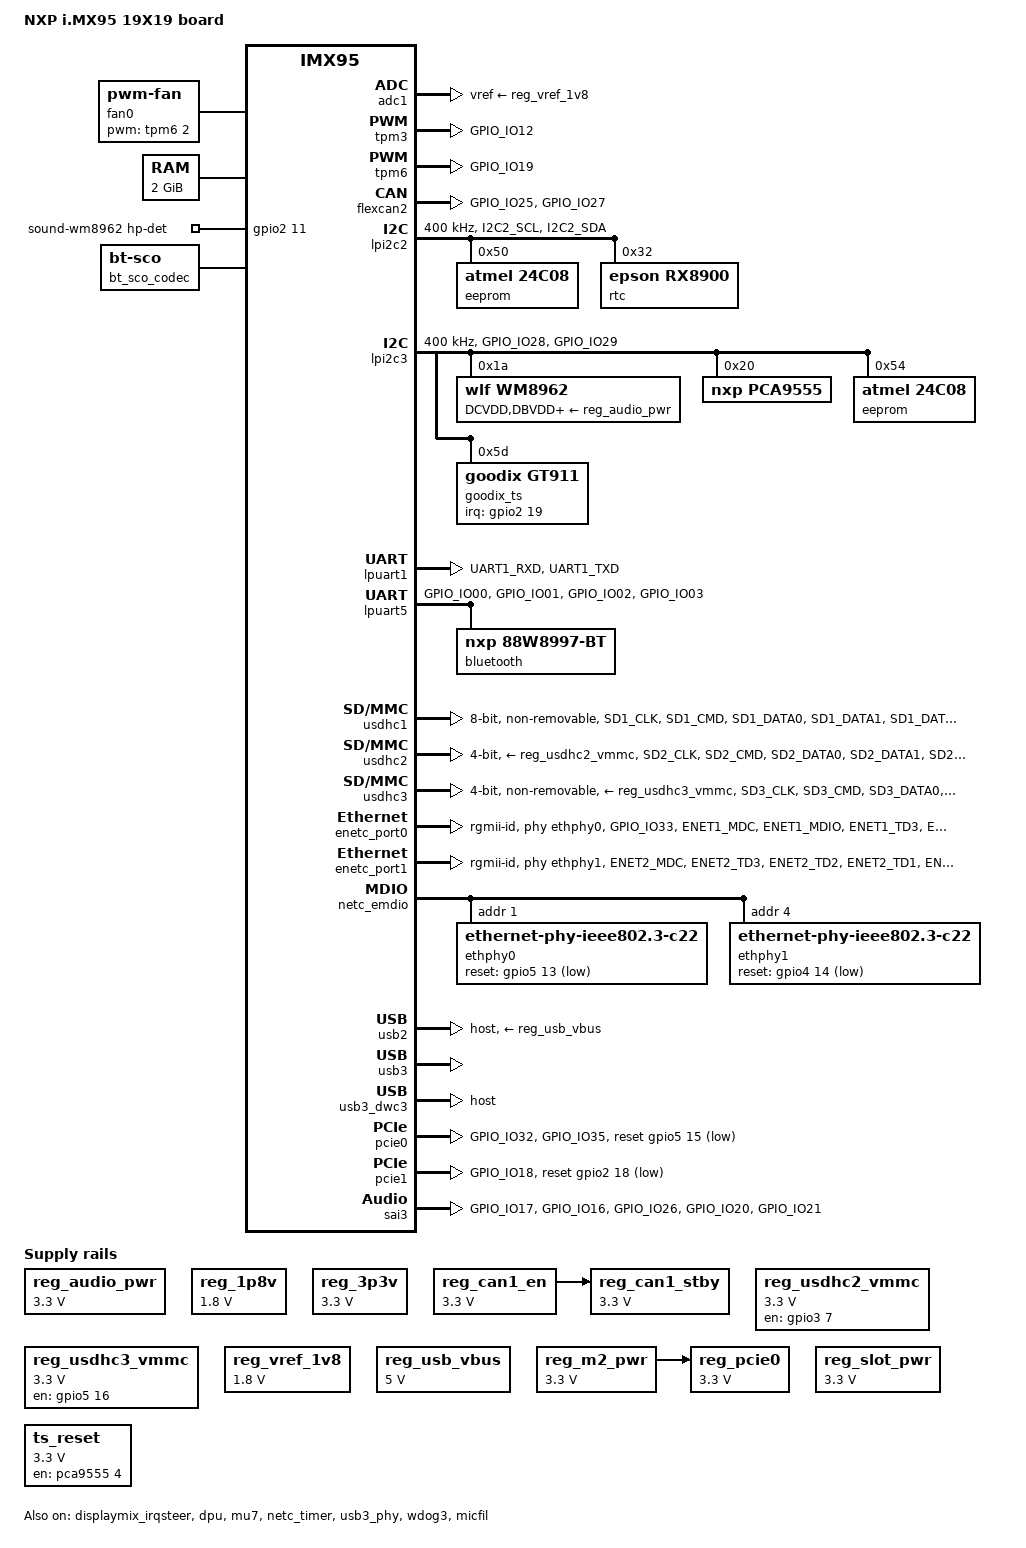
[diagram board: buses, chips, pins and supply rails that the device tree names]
// SPDX-License-Identifier: (GPL-2.0+ OR MIT)
/*
 * Copyright 2023 NXP
 */

/dts-v1/;

#include <dt-bindings/phy/phy-imx8-pcie.h>
#include <dt-bindings/gpio/gpio.h>
#include <dt-bindings/pwm/pwm.h>
#include <dt-bindings/usb/pd.h>
#include "../freescale/imx95.dtsi"

#define FALLING_EDGE		BIT(0)
#define RISING_EDGE		BIT(1)

#define BRD_SM_CTRL_SD3_WAKE		0x8000	/*!< PCAL6408A-0 */
#define BRD_SM_CTRL_PCIE1_WAKE		0x8001	/*!< PCAL6408A-4 */
#define BRD_SM_CTRL_BT_WAKE		0x8002	/*!< PCAL6408A-5 */
#define BRD_SM_CTRL_PCIE2_WAKE		0x8003	/*!< PCAL6408A-6 */
#define BRD_SM_CTRL_BUTTON		0x8004	/*!< PCAL6408A-7 */

/ {
	model = "NXP i.MX95 19X19 board";
	compatible = "compulab,ucm-imx95", "fsl,imx95";

	aliases {
		ethernet0 = &enetc_port0;
		ethernet1 = &enetc_port1;
	};

	chosen {
		stdout-path = &lpuart1;
		#address-cells = <2>;
		#size-cells = <2>;
		/* will be updated by U-boot when booting Xen */
		module@0 {
			bootargs = "earlycon=xen console=hvc0 loglevel=8 root=/dev/mmcblk0p2 rw rootwait";
			compatible = "xen,linux-zimage", "xen,multiboot-module";
			reg = <0x00000000 0x9e000000 0x00000000 0x2000000>;
		};
	};

	fan0: pwm-fan {
		compatible = "pwm-fan";
		cooling-min-state = <0>;
		cooling-max-state = <3>;
		#cooling-cells = <2>;
		pwms = <&tpm6 2 4000000 PWM_POLARITY_INVERTED>;
		cooling-levels = <64 128 192 255>;
	};

	memory@80000000 {
		device_type = "memory";
		reg = <0x0 0x80000000 0 0x80000000>;
	};

	reserved-memory {
		#address-cells = <2>;
		#size-cells = <2>;
		ranges;

		linux_cma: linux,cma {
			compatible = "shared-dma-pool";
			reusable;
			size = <0 0x3c000000>;
			alloc-ranges = <0 0x80000000 0 0x7F000000>;
			linux,cma-default;
		};

		vpu_boot: vpu_boot@a0000000 {
			reg = <0 0xa0000000 0 0x100000>;
			no-map;
		};

		vdev0vring0: vdev0vring0@88000000 {
			reg = <0 0x88000000 0 0x8000>;
			no-map;
		};

		vdev0vring1: vdev0vring1@88008000 {
			reg = <0 0x88008000 0 0x8000>;
			no-map;
		};

		vdev1vring0: vdev1vring0@88010000 {
			reg = <0 0x88010000 0 0x8000>;
			no-map;
		};

		vdev1vring1: vdev1vring1@88018000 {
			reg = <0 0x88018000 0 0x8000>;
			no-map;
		};

		rsc_table: rsc-table@88220000 {
			reg = <0 0x88220000 0 0x1000>;
			no-map;
		};

		vdevbuffer: vdevbuffer@88020000 {
			compatible = "shared-dma-pool";
			reg = <0 0x88020000 0 0x100000>;
			no-map;
		};
	};

	reg_audio_pwr: regulator-audio-pwr {
		compatible = "regulator-fixed";
		regulator-name = "audio-pwr";
		regulator-min-microvolt = <3300000>;
		regulator-max-microvolt = <3300000>;
	};

	reg_1p8v: regulator-1p8v {
		compatible = "regulator-fixed";
		regulator-max-microvolt = <1800000>;
		regulator-min-microvolt = <1800000>;
		regulator-name = "+V1.8_SW";
	};

	reg_3p3v: regulator-3p3v {
		compatible = "regulator-fixed";
		regulator-max-microvolt = <3300000>;
		regulator-min-microvolt = <3300000>;
		regulator-name = "+V3.3_SW";
	};

	reg_can1_stby: regulator-can1-stby {
		compatible = "regulator-fixed";
		regulator-name = "can1-stby";
		regulator-min-microvolt = <3300000>;
		regulator-max-microvolt = <3300000>;
		enable-active-high;
		vin-supply = <&reg_can1_en>;
	};

	reg_can1_en: regulator-can1-en {
		compatible = "regulator-fixed";
		regulator-name = "can1-en";
		regulator-min-microvolt = <3300000>;
		regulator-max-microvolt = <3300000>;
		enable-active-high;
	};

	reg_usdhc2_vmmc: regulator-usdhc2 {
		compatible = "regulator-fixed";
		pinctrl-names = "default";
		pinctrl-0 = <&pinctrl_reg_usdhc2_vmmc>;
		regulator-name = "VDD_SD2_3V3";
		regulator-min-microvolt = <3300000>;
		regulator-max-microvolt = <3300000>;
		gpio = <&gpio3 7 GPIO_ACTIVE_HIGH>;
		off-on-delay-us = <12000>;
		enable-active-high;
	};

	reg_usdhc3_vmmc: regulator-usdhc3 {
		compatible = "regulator-fixed";
		pinctrl-names = "default";
		pinctrl-0 = <&pinctrl_reg_usdhc3_vmmc>;
		regulator-name = "VDD_SD3_3V3";
		regulator-min-microvolt = <3300000>;
		regulator-max-microvolt = <3300000>;
		gpio = <&gpio5 16 GPIO_ACTIVE_HIGH>;
		off-on-delay-us = <12000>;
		enable-active-high;
	};

	reg_pcie0: regulator-pcie {
		compatible = "regulator-fixed";
		regulator-name = "PCIE_WLAN_EN";
		regulator-min-microvolt = <3300000>;
		regulator-max-microvolt = <3300000>;
		vin-supply = <&reg_m2_pwr>;
		enable-active-high;
		regulator-always-on;
	};

	reg_vref_1v8: regulator-adc-vref {
		compatible = "regulator-fixed";
		regulator-name = "vref_1v8";
		regulator-min-microvolt = <1800000>;
		regulator-max-microvolt = <1800000>;
	};

	reg_usb_vbus: regulator-vbus {
		compatible = "regulator-fixed";
		regulator-name = "USB_VBUS";
		regulator-min-microvolt = <5000000>;
		regulator-max-microvolt = <5000000>;
		enable-active-high;
		regulator-always-on;
	};

	reg_m2_pwr: regulator-m2-pwr {
		compatible = "regulator-fixed";
		regulator-name = "M.2-power";
		regulator-min-microvolt = <3300000>;
		regulator-max-microvolt = <3300000>;
		enable-active-high;
	};

	reg_slot_pwr: regulator-slot-pwr {
		compatible = "regulator-fixed";
		regulator-name = "PCIe slot-power";
		regulator-min-microvolt = <3300000>;
		regulator-max-microvolt = <3300000>;
		enable-active-high;
		regulator-always-on;
	};

	cm7: imx95-cm7 {
		compatible = "fsl,imx95-cm7";
		mbox-names = "tx", "rx", "rxdb";
		mboxes = <&mu7 0 1
			  &mu7 1 1
			  &mu7 3 1>;
		memory-region = <&vdevbuffer>, <&vdev0vring0>, <&vdev0vring1>,
				<&vdev1vring0>, <&vdev1vring1>, <&rsc_table>;
		fsl,startup-delay-ms = <50>;
		status = "okay";
	};

	sound-wm8962 {
		compatible = "fsl,imx-audio-wm8962";
		pinctrl-names = "default";
		pinctrl-0 = <&pinctrl_hp>;
		model = "wm8962-audio";
		audio-cpu = <&sai3>;
		audio-codec = <&wm8962>;
		hp-det-gpio = <&gpio2 11 GPIO_ACTIVE_HIGH>;
		audio-routing =
			"Headphone Jack", "HPOUTL",
			"Headphone Jack", "HPOUTR",
			"Ext Spk", "SPKOUTL",
			"Ext Spk", "SPKOUTR",
			"AMIC", "MICBIAS",
			"IN3R", "AMIC",
			"IN1R", "AMIC";
	};

	sound-micfil {
		compatible = "fsl,imx-audio-card";
		model = "micfil-audio";
		pri-dai-link {
			link-name = "micfil hifi";
			format = "i2s";
			cpu {
				sound-dai = <&micfil>;
			};
		};
	};

	bt_sco_codec: bt_sco_codec {
		#sound-dai-cells = <1>;
		compatible = "linux,bt-sco";
	};

	sound-bt-sco {
		compatible = "simple-audio-card";
		simple-audio-card,name = "bt-sco-audio";
		simple-audio-card,format = "dsp_a";
		simple-audio-card,bitclock-inversion;
		simple-audio-card,frame-master = <&btcpu>;
		simple-audio-card,bitclock-master = <&btcpu>;

		btcpu: simple-audio-card,cpu {
			sound-dai = <&sai1>;
			dai-tdm-slot-num = <2>;
			dai-tdm-slot-width = <16>;
		};

		simple-audio-card,codec {
			sound-dai = <&bt_sco_codec 1>;
		};
	};

	ts_reset: regulator-tsreset {
		compatible = "regulator-fixed";
		regulator-name = "touch-reset";
		regulator-min-microvolt = <3300000>;
		regulator-max-microvolt = <3300000>;
		gpio = <&pca9555 4 GPIO_ACTIVE_HIGH>;
		enable-active-high;
		regulator-always-on;
	};
};

&adc1 {
	vref-supply = <&reg_vref_1v8>;
	status = "okay";
};

&displaymix_irqsteer {
	status = "okay";
};

&dpu {
	status = "okay";
};

&tpm3 {
	pinctrl-names = "default";
	pinctrl-0 = <&pinctrl_tpm3>;
	status = "okay";
};

&tpm6 {
	pinctrl-names = "default";
	pinctrl-0 = <&pinctrl_tpm6>;
	pwm-rst;
	status = "okay";
};

/* pin conflict with PDM */
&flexcan1 {
	pinctrl-names = "default";
	pinctrl-0 = <&pinctrl_flexcan1>;
	xceiver-supply = <&reg_can1_stby>;
	status = "disabled";
};

&flexcan2 {
	pinctrl-names = "default";
	pinctrl-0 = <&pinctrl_flexcan2>;
	status = "okay";
};

&flexspi1 {
	pinctrl-names = "default", "sleep";
	pinctrl-0 = <&pinctrl_flexspi1>;
	pinctrl-1 = <&pinctrl_flexspi1>;
	status = "disabled";

	/* TODO: switch to use reset-gpios */
	//reset-gpios = <&gpio5 11 GPIO_ACTIVE_LOW>;

	pinctrl-assert-gpios = <&gpio5 11 GPIO_ACTIVE_HIGH>;

	mt35xu01gbba: flash@0 {
		reg = <0>;
		#address-cells = <1>;
		#size-cells = <1>;
		compatible = "jedec,spi-nor";
		spi-max-frequency = <200000000>;
		spi-tx-bus-width = <8>;
		spi-rx-bus-width = <8>;
	};
};

&lpi2c1 {
        #address-cells = <1>;
        #size-cells = <0>;
        clock-frequency = <400000>;
        pinctrl-names = "default", "sleep";
        pinctrl-0 = <&pinctrl_lpi2c1>;
        pinctrl-1 = <&pinctrl_lpi2c1>;
        status = "disabled";
};

&lpi2c2 {
	#address-cells = <1>;
	#size-cells = <0>;
	clock-frequency = <400000>;
	pinctrl-names = "default", "sleep";
	pinctrl-0 = <&pinctrl_lpi2c2>;
	pinctrl-1 = <&pinctrl_lpi2c2>;
        status = "okay";

        eeprom@50 {
                compatible = "atmel,24c08";
                reg = <0x50>;
                pagesize = <16>;
        };

	rtc@32 {
		compatible = "epson,rx8900";
		reg = <0x32>;
		trickle-diode-disable;
		epson,vdet-disable;
		pagesize = <16>;
		sqw = "32768_hz";
		xt-frequency = <32772300>;
		status = "okay";
        };
};

&lpi2c3 {
	#address-cells = <1>;
	#size-cells = <0>;
	clock-frequency = <400000>;
	pinctrl-names = "default", "sleep";
	pinctrl-0 = <&pinctrl_lpi2c3>;
	pinctrl-1 = <&pinctrl_lpi2c3>;
	status = "okay";

	wm8962: codec@1a {
		compatible = "wlf,wm8962";
		reg = <0x1a>;
		clocks = <&scmi_clk IMX95_CLK_SAI3>;
		DCVDD-supply = <&reg_audio_pwr>;
		DBVDD-supply = <&reg_audio_pwr>;
		AVDD-supply = <&reg_audio_pwr>;
		CPVDD-supply = <&reg_audio_pwr>;
		MICVDD-supply = <&reg_audio_pwr>;
		PLLVDD-supply = <&reg_audio_pwr>;
		SPKVDD1-supply = <&reg_audio_pwr>;
		SPKVDD2-supply = <&reg_audio_pwr>;
		gpio-cfg = <
			0x0000 /* 0:Default */
			0x0000 /* 1:Default */
			0x0000 /* 2:FN_DMICCLK */
			0x0000 /* 3:Default */
			0x0000 /* 4:FN_DMICCDAT */
			0x0000 /* 5:Default */
		>;
	};

	pca9555: gpio@20 {
		compatible = "nxp,pca9555";
		reg = <0x20>;
		gpio-controller;
		#gpio-cells = <2>;
		status = "okay";
	};

        eeprom@54 {
                compatible = "atmel,24c08";
                reg = <0x54>;
                pagesize = <16>;
        };

	goodix_ts@5d {
		compatible = "goodix,gt911";
		reg = <0x5d>;
		interrupt-parent = <&gpio2>;
		interrupts = <19 IRQ_TYPE_LEVEL_HIGH>;
		pinctrl-names = "default";
		pinctrl-0 = <&touchscreen0_pins>;
		irq-gpios = <&gpio2 19 GPIO_ACTIVE_HIGH>;
/* To be investigated; the driver does not take the device
 * out of reset if reset-gpios is defined inside the device node e.g.:
		reset-gpios = <&pca9555 4 GPIO_ACTIVE_HIGH>;
 * as of now the ts_reset regulator allows working with the device
 */
		status = "okay";
	};
};

&lpi2c4 {
	#address-cells = <1>;
	#size-cells = <0>;
	clock-frequency = <400000>;
	pinctrl-names = "default", "sleep";
	pinctrl-0 = <&pinctrl_lpi2c4>;
	pinctrl-1 = <&pinctrl_lpi2c4>;
        status = "disabled";
};

&lpi2c5 {
	#address-cells = <1>;
	#size-cells = <0>;
	clock-frequency = <100000>;
	pinctrl-names = "default", "sleep";
	pinctrl-0 = <&pinctrl_lpi2c5>;
	pinctrl-1 = <&pinctrl_lpi2c5>;
        status = "disabled";
};

&lpi2c6 {
	#address-cells = <1>;
	#size-cells = <0>;
	clock-frequency = <100000>;
	pinctrl-names = "default", "sleep";
	pinctrl-0 = <&pinctrl_lpi2c6>;
	pinctrl-1 = <&pinctrl_lpi2c6>;
        status = "disabled";
};

&lpi2c7 {
	#address-cells = <1>;
	#size-cells = <0>;
	clock-frequency = <1000000>;
	pinctrl-names = "default", "sleep";
	pinctrl-0 = <&pinctrl_lpi2c7>;
	pinctrl-1 = <&pinctrl_lpi2c7>;
        status = "disabled";
};

&lpuart1 {
	/* console */
	pinctrl-names = "default";
	pinctrl-0 = <&pinctrl_uart1>;
	status = "okay";
};

&lpuart5 {
	/* BT */
	pinctrl-names = "default";
	pinctrl-0 = <&pinctrl_uart5>;
	status = "okay";
	bluetooth {
		compatible = "nxp,88w8997-bt";
		/* U-blox 88Q9098 module use the 3Mbps by default */
		fw-init-baudrate = <3000000>;
	};
};

&lpspi7 {
	fsl,spi-num-chipselects = <1>;
	pinctrl-names = "default", "sleep";
	pinctrl-0 = <&pinctrl_lpspi7>;
	pinctrl-1 = <&pinctrl_lpspi7>;
	cs-gpios = <&gpio2 4 GPIO_ACTIVE_LOW>;
	status = "disabled";

	spidev0: spi@0 {
		reg = <0>;
		compatible = "lwn,bk4";
		spi-max-frequency = <1000000>;
	};
};

&mu7 {
	status = "okay";
};

&usdhc1 {
	pinctrl-names = "default", "state_100mhz", "state_200mhz", "sleep";
	pinctrl-0 = <&pinctrl_usdhc1>;
	pinctrl-1 = <&pinctrl_usdhc1_100mhz>;
	pinctrl-2 = <&pinctrl_usdhc1_200mhz>;
	pinctrl-3 = <&pinctrl_usdhc1>;
	bus-width = <8>;
	non-removable;
	no-sdio;
	no-sd;
	status = "okay";
};

&usdhc2 {
	pinctrl-names = "default", "state_100mhz", "state_200mhz", "sleep";
	pinctrl-0 = <&pinctrl_usdhc2>, <&pinctrl_usdhc2_gpio>;
	pinctrl-1 = <&pinctrl_usdhc2_100mhz>, <&pinctrl_usdhc2_gpio>;
	pinctrl-2 = <&pinctrl_usdhc2_200mhz>, <&pinctrl_usdhc2_gpio>;
	pinctrl-3 = <&pinctrl_usdhc2>, <&pinctrl_usdhc2_gpio>;
	cd-gpios = <&gpio3 00 GPIO_ACTIVE_LOW>;
	vmmc-supply = <&reg_usdhc2_vmmc>;
	bus-width = <4>;
	status = "okay";
};

&usdhc3 {
	pinctrl-names = "default", "state_100mhz", "state_200mhz", "sleep";
	pinctrl-0 = <&pinctrl_usdhc3>;
	pinctrl-1 = <&pinctrl_usdhc3_100mhz>;
	pinctrl-2 = <&pinctrl_usdhc3_200mhz>;
	pinctrl-3 = <&pinctrl_usdhc3>;
	vmmc-supply = <&reg_usdhc3_vmmc>;
	bus-width = <4>;
	non-removable;
	wifi-host;
	status = "okay";
};

&enetc_port0 {
	pinctrl-names = "default";
	pinctrl-0 = <&pinctrl_enetc0>;
	phy-handle = <&ethphy0>;
	phy-mode = "rgmii-id";
	status = "okay";
};

&enetc_port1 {
	pinctrl-names = "default";
	pinctrl-0 = <&pinctrl_enetc1>;
	phy-handle = <&ethphy1>;
	phy-mode = "rgmii-id";
	status = "okay";
};

&netc_timer {
	status = "okay";
};

&netc_prb_ierb {
	netc-interfaces = <NXP_NETC_RGMII
			   NXP_NETC_RGMII>;
};

&netc_emdio {
	status = "okay";

	ethphy0: ethernet-phy@1 {
		compatible = "ethernet-phy-ieee802.3-c22";
		reg = <1>;
		eee-broken-1000t;
		reset-gpios = <&gpio5 13 GPIO_ACTIVE_LOW>;
		reset-assert-us = <10000>;
		reset-deassert-us = <80000>;
		realtek,clkout-disable;
	};

	ethphy1: ethernet-phy@4 {
		compatible = "ethernet-phy-ieee802.3-c22";
		reg = <4>;
		eee-broken-1000t;
		reset-gpios = <&gpio4 14 GPIO_ACTIVE_LOW>;
		reset-assert-us = <10000>;
		reset-deassert-us = <80000>;
		realtek,clkout-disable;
	};
};

&usb2 {
	dr_mode = "host";
	vbus-supply = <&reg_usb_vbus>;
	disable-over-current;
	status = "okay";
};

&thermal_zones {
	a55 {
		trips {
			atrip2: trip2 {
				temperature = <55000>;
				hysteresis = <2000>;
				type = "active";
			};

			atrip3: trip3 {
				temperature = <65000>;
				hysteresis = <2000>;
				type = "active";
			};

			atrip4: trip4 {
				temperature = <75000>;
				hysteresis = <2000>;
				type = "active";
			};
		};

		cooling-maps {
			map1 {
				trip = <&atrip2>;
				cooling-device = <&fan0 0 1>;
			};

			map2 {
				trip = <&atrip3>;
				cooling-device = <&fan0 1 2>;
			};

			map3 {
				trip = <&atrip4>;
				cooling-device = <&fan0 2 3>;
			};
		};
	};

	pf09 {
		polling-delay-passive = <250>;
		polling-delay = <2000>;
		thermal-sensors = <&scmi_sensor 2>;
		trips {
			pf09_alert: trip0 {
				temperature = <140000>;
				hysteresis = <2000>;
				type = "passive";
			};

			pf09_crit: trip1 {
				temperature = <155000>;
				hysteresis = <2000>;
				type = "critical";
			};
		};
	};

	pf53_arm {
		polling-delay-passive = <250>;
		polling-delay = <2000>;
		thermal-sensors = <&scmi_sensor 4>;
		trips {
			pf5301_alert: trip0 {
				temperature = <140000>;
				hysteresis = <2000>;
				type = "passive";
			};

			pf5301_crit: trip1 {
				temperature = <155000>;
				hysteresis = <2000>;
				type = "critical";
			};
		};

		cooling-maps {
			map0 {
				trip = <&pf5301_alert>;
				cooling-device =
					<&A55_0 THERMAL_NO_LIMIT THERMAL_NO_LIMIT>,
					<&A55_1 THERMAL_NO_LIMIT THERMAL_NO_LIMIT>,
					<&A55_2 THERMAL_NO_LIMIT THERMAL_NO_LIMIT>,
					<&A55_3 THERMAL_NO_LIMIT THERMAL_NO_LIMIT>,
					<&A55_4 THERMAL_NO_LIMIT THERMAL_NO_LIMIT>,
					<&A55_5 THERMAL_NO_LIMIT THERMAL_NO_LIMIT>;
			};
		};
	};

	pf53_soc {
		polling-delay-passive = <250>;
		polling-delay = <2000>;
		thermal-sensors = <&scmi_sensor 3>;
		trips {
			pf5302_alert: trip0 {
				temperature = <140000>;
				hysteresis = <2000>;
				type = "passive";
			};

			pf5302_crit: trip1 {
				temperature = <155000>;
				hysteresis = <2000>;
				type = "critical";
			};
		};
	};
};

&usb3 {
	status = "okay";
};

&usb3_phy {
	status = "okay";
};

&usb3_dwc3 {
	dr_mode = "host";
	hnp-disable;
	srp-disable;
	adp-disable;
	snps,dis-u1-entry-quirk;
	snps,dis-u2-entry-quirk;
	status = "okay";
};

&scmi_misc {
	wakeup-sources = <BRD_SM_CTRL_SD3_WAKE		1
			  BRD_SM_CTRL_PCIE1_WAKE	1
			  BRD_SM_CTRL_BT_WAKE		1
			  BRD_SM_CTRL_PCIE2_WAKE	1
			  BRD_SM_CTRL_BUTTON		1>;
};

&scmi_iomuxc {
	touchscreen0_pins: ts0grp {
		fsl,pins = <
			IMX95_PAD_GPIO_IO19__GPIO2_IO_BIT19	0x31e
		>;
	};

	pinctrl_tpm3: tpm3grp {
		fsl,pins = <
			IMX95_PAD_GPIO_IO12__TPM3_CH2			0x51e
		>;
	};

	pinctrl_tpm6: tpm6grp {
		fsl,pins = <
			IMX95_PAD_GPIO_IO19__TPM6_CH2			0x51e
		>;
	};

	pinctrl_flexcan1: flexcan1grp {
		fsl,pins = <
			IMX95_PAD_PDM_CLK__AONMIX_TOP_CAN1_TX		0x39e
			IMX95_PAD_PDM_BIT_STREAM0__AONMIX_TOP_CAN1_RX	0x39e
		>;
	};

	pinctrl_flexcan2: flexcan2grp {
		fsl,pins = <
			IMX95_PAD_GPIO_IO25__CAN2_TX			0x39e
			IMX95_PAD_GPIO_IO27__CAN2_RX			0x39e
		>;
	};

	pinctrl_hp: hpgrp {
		fsl,pins = <
			IMX95_PAD_GPIO_IO11__GPIO2_IO_BIT11		0x31e
		>;
	};

	pinctrl_lpi2c1: lpi2c1grp {
		fsl,pins = <
			IMX95_PAD_I2C1_SCL__AONMIX_TOP_LPI2C1_SCL	0x40000b9e
			IMX95_PAD_I2C1_SDA__AONMIX_TOP_LPI2C1_SDA	0x40000b9e
		>;
	};

	pinctrl_lpi2c2: lpi2c2grp {
		fsl,pins = <
			IMX95_PAD_I2C2_SCL__AONMIX_TOP_LPI2C2_SCL	0x40000b9e
			IMX95_PAD_I2C2_SDA__AONMIX_TOP_LPI2C2_SDA	0x40000b9e
		>;
	};

	pinctrl_lpi2c3: lpi2c3grp {
		fsl,pins = <
			IMX95_PAD_GPIO_IO28__LPI2C3_SDA			0x40000b9e
			IMX95_PAD_GPIO_IO29__LPI2C3_SCL			0x40000b9e
		>;
	};

	pinctrl_lpi2c4: lpi2c4grp {
		fsl,pins = <
			IMX95_PAD_GPIO_IO30__LPI2C4_SDA			0x40000b9e
			IMX95_PAD_GPIO_IO31__LPI2C4_SCL			0x40000b9e
		>;
	};

	pinctrl_lpi2c5: lpi2c5grp {
		fsl,pins = <
			IMX95_PAD_GPIO_IO22__LPI2C5_SDA			0x40000b9e
			IMX95_PAD_GPIO_IO23__LPI2C5_SCL			0x40000b9e
		>;
	};

	pinctrl_lpi2c6: lpi2c6grp {
		fsl,pins = <
			IMX95_PAD_GPIO_IO02__LPI2C6_SDA			0x40000b9e
			IMX95_PAD_GPIO_IO03__LPI2C6_SCL			0x40000b9e
		>;
	};

	pinctrl_lpi2c7: lpi2c7grp {
		fsl,pins = <
			IMX95_PAD_GPIO_IO08__LPI2C7_SDA			0x40000b9e
			IMX95_PAD_GPIO_IO09__LPI2C7_SCL			0x40000b9e
		>;
	};

	pinctrl_uart1: uart1grp {
		fsl,pins = <
			IMX95_PAD_UART1_RXD__AONMIX_TOP_LPUART1_RX      0x31e
			IMX95_PAD_UART1_TXD__AONMIX_TOP_LPUART1_TX      0x31e
		>;
	};

	pinctrl_uart5: uart5grp {
		fsl,pins = <
			IMX95_PAD_GPIO_IO00__LPUART5_TX			0x31e
			IMX95_PAD_GPIO_IO01__LPUART5_RX			0x31e
			IMX95_PAD_GPIO_IO02__LPUART5_CTS_B		0x31e
			IMX95_PAD_GPIO_IO03__LPUART5_RTS_B		0x31e
		>;
	};

	pinctrl_pcie0: pcie0grp {
		fsl,pins = <
			IMX95_PAD_GPIO_IO32__HSIOMIX_TOP_PCIE1_CLKREQ_B		0x40000b1e
			IMX95_PAD_GPIO_IO35__GPIO5_IO_BIT15                     0x3fe
		>;
	};

	pinctrl_pcie1: pcie1grp {
		fsl,pins = <
			/*IMX95_PAD_GPIO_IO35__HSIOMIX_TOP_PCIE2_CLKREQ_B	0x40000b1e*/
			IMX95_PAD_GPIO_IO18__GPIO2_IO_BIT18                    0x3fe
		>;
	};

	pinctrl_lpspi7: lpspi7grp {
		fsl,pins = <
			IMX95_PAD_GPIO_IO04__GPIO2_IO_BIT4	0x3fe
			IMX95_PAD_GPIO_IO05__LPSPI7_SIN		0x3fe
			IMX95_PAD_GPIO_IO06__LPSPI7_SOUT	0x3fe
			IMX95_PAD_GPIO_IO07__LPSPI7_SCK		0x3fe
		>;
	};

	pinctrl_enetc0: enetc0grp {
		fsl,pins = <
			IMX95_PAD_GPIO_IO33__GPIO5_IO_BIT13			0x3fe
			IMX95_PAD_ENET1_MDC__NETCMIX_TOP_NETC_MDC		0x57e
			IMX95_PAD_ENET1_MDIO__NETCMIX_TOP_NETC_MDIO		0x97e
			IMX95_PAD_ENET1_TD3__NETCMIX_TOP_ETH0_RGMII_TD3		0x57e
			IMX95_PAD_ENET1_TD2__NETCMIX_TOP_ETH0_RGMII_TD2		0x57e
			IMX95_PAD_ENET1_TD1__NETCMIX_TOP_ETH0_RGMII_TD1		0x57e
			IMX95_PAD_ENET1_TD0__NETCMIX_TOP_ETH0_RGMII_TD0		0x57e
			IMX95_PAD_ENET1_TX_CTL__NETCMIX_TOP_ETH0_RGMII_TX_CTL	0x57e
			IMX95_PAD_ENET1_TXC__NETCMIX_TOP_ETH0_RGMII_TX_CLK	0x58e
			IMX95_PAD_ENET1_RX_CTL__NETCMIX_TOP_ETH0_RGMII_RX_CTL	0x57e
			IMX95_PAD_ENET1_RXC__NETCMIX_TOP_ETH0_RGMII_RX_CLK	0x58e
			IMX95_PAD_ENET1_RD0__NETCMIX_TOP_ETH0_RGMII_RD0		0x57e
			IMX95_PAD_ENET1_RD1__NETCMIX_TOP_ETH0_RGMII_RD1		0x57e
			IMX95_PAD_ENET1_RD2__NETCMIX_TOP_ETH0_RGMII_RD2		0x57e
			IMX95_PAD_ENET1_RD3__NETCMIX_TOP_ETH0_RGMII_RD3		0x57e
		>;
	};

	pinctrl_enetc1: enetc1grp {
		fsl,pins = <
			IMX95_PAD_ENET2_MDC__GPIO4_IO_BIT14			0x3fe
			IMX95_PAD_ENET2_TD3__NETCMIX_TOP_ETH1_RGMII_TD3		0x57e
			IMX95_PAD_ENET2_TD2__NETCMIX_TOP_ETH1_RGMII_TD2		0x57e
			IMX95_PAD_ENET2_TD1__NETCMIX_TOP_ETH1_RGMII_TD1		0x57e
			IMX95_PAD_ENET2_TD0__NETCMIX_TOP_ETH1_RGMII_TD0		0x57e
			IMX95_PAD_ENET2_TX_CTL__NETCMIX_TOP_ETH1_RGMII_TX_CTL	0x57e
			IMX95_PAD_ENET2_TXC__NETCMIX_TOP_ETH1_RGMII_TX_CLK	0x58e
			IMX95_PAD_ENET2_RX_CTL__NETCMIX_TOP_ETH1_RGMII_RX_CTL	0x57e
			IMX95_PAD_ENET2_RXC__NETCMIX_TOP_ETH1_RGMII_RX_CLK	0x58e
			IMX95_PAD_ENET2_RD0__NETCMIX_TOP_ETH1_RGMII_RD0		0x57e
			IMX95_PAD_ENET2_RD1__NETCMIX_TOP_ETH1_RGMII_RD1		0x57e
			IMX95_PAD_ENET2_RD2__NETCMIX_TOP_ETH1_RGMII_RD2		0x57e
			IMX95_PAD_ENET2_RD3__NETCMIX_TOP_ETH1_RGMII_RD3		0x57e
		>;
	};

	pinctrl_flexspi1: flexspi1grp {
		fsl,pins = <
			IMX95_PAD_XSPI1_SS0_B__FLEXSPI1_A_SS0_B			0x3fe
			IMX95_PAD_XSPI1_SS1_B__GPIO5_IO_BIT11			0x3fe
			IMX95_PAD_XSPI1_SCLK__FLEXSPI1_A_SCLK			0x3fe
			IMX95_PAD_XSPI1_DQS__FLEXSPI1_A_DQS			0x3fe
			IMX95_PAD_XSPI1_DATA0__FLEXSPI1_A_DATA_BIT0		0x3fe
			IMX95_PAD_XSPI1_DATA1__FLEXSPI1_A_DATA_BIT1		0x3fe
			IMX95_PAD_XSPI1_DATA2__FLEXSPI1_A_DATA_BIT2		0x3fe
			IMX95_PAD_XSPI1_DATA3__FLEXSPI1_A_DATA_BIT3		0x3fe
			IMX95_PAD_XSPI1_DATA4__FLEXSPI1_A_DATA_BIT4		0x3fe
			IMX95_PAD_XSPI1_DATA5__FLEXSPI1_A_DATA_BIT5		0x3fe
			IMX95_PAD_XSPI1_DATA6__FLEXSPI1_A_DATA_BIT6		0x3fe
			IMX95_PAD_XSPI1_DATA7__FLEXSPI1_A_DATA_BIT7		0x3fe
		>;
	};

	pinctrl_mipi_dsi_csi: mipidsigrp {
		fsl,pins = <
			IMX95_PAD_CCM_CLKO2__GPIO3_IO_BIT27			0x31e
		>;
	};

	pinctrl_pdm: pdmgrp {
		fsl,pins = <
			IMX95_PAD_PDM_CLK__AONMIX_TOP_PDM_CLK				0x31e
			IMX95_PAD_PDM_BIT_STREAM0__AONMIX_TOP_PDM_BIT_STREAM_BIT0	0x31e
		>;
	};

	pinctrl_sai1: sai1grp {
		fsl,pins = <
			IMX95_PAD_SAI1_RXD0__AONMIX_TOP_SAI1_RX_DATA_BIT0    0x31e
			IMX95_PAD_SAI1_TXC__AONMIX_TOP_SAI1_TX_BCLK      0x31e
			IMX95_PAD_SAI1_TXFS__AONMIX_TOP_SAI1_TX_SYNC     0x31e
			IMX95_PAD_SAI1_TXD0__AONMIX_TOP_SAI1_TX_DATA_BIT0    0x31e
		>;
	};

	pinctrl_sai3: sai3grp {
		fsl,pins = <
			IMX95_PAD_GPIO_IO17__SAI3_MCLK				0x31e
			IMX95_PAD_GPIO_IO16__SAI3_TX_BCLK			0x31e
			IMX95_PAD_GPIO_IO26__SAI3_TX_SYNC			0x31e
			IMX95_PAD_GPIO_IO20__SAI3_RX_DATA_BIT0			0x31e
			IMX95_PAD_GPIO_IO21__SAI3_TX_DATA_BIT0			0x31e
		>;
	};

	pinctrl_spdif: spdifgrp {
		fsl,pins = <
			IMX95_PAD_GPIO_IO22__SPDIF_IN				0x31e
			IMX95_PAD_GPIO_IO23__SPDIF_OUT				0x31e
		>;
	};

	pinctrl_usdhc1: usdhc1grp {
		fsl,pins = <
			IMX95_PAD_SD1_CLK__USDHC1_CLK				0x158e
			IMX95_PAD_SD1_CMD__USDHC1_CMD				0x138e
			IMX95_PAD_SD1_DATA0__USDHC1_DATA0			0x138e
			IMX95_PAD_SD1_DATA1__USDHC1_DATA1			0x138e
			IMX95_PAD_SD1_DATA2__USDHC1_DATA2			0x138e
			IMX95_PAD_SD1_DATA3__USDHC1_DATA3			0x138e
			IMX95_PAD_SD1_DATA4__USDHC1_DATA4			0x138e
			IMX95_PAD_SD1_DATA5__USDHC1_DATA5			0x138e
			IMX95_PAD_SD1_DATA6__USDHC1_DATA6			0x138e
			IMX95_PAD_SD1_DATA7__USDHC1_DATA7			0x138e
			IMX95_PAD_SD1_STROBE__USDHC1_STROBE			0x158e
		>;
	};

	pinctrl_usdhc1_100mhz: usdhc1-100mhzgrp {
		fsl,pins = <
			IMX95_PAD_SD1_CLK__USDHC1_CLK				0x158e
			IMX95_PAD_SD1_CMD__USDHC1_CMD				0x138e
			IMX95_PAD_SD1_DATA0__USDHC1_DATA0			0x138e
			IMX95_PAD_SD1_DATA1__USDHC1_DATA1			0x138e
			IMX95_PAD_SD1_DATA2__USDHC1_DATA2			0x138e
			IMX95_PAD_SD1_DATA3__USDHC1_DATA3			0x138e
			IMX95_PAD_SD1_DATA4__USDHC1_DATA4			0x138e
			IMX95_PAD_SD1_DATA5__USDHC1_DATA5			0x138e
			IMX95_PAD_SD1_DATA6__USDHC1_DATA6			0x138e
			IMX95_PAD_SD1_DATA7__USDHC1_DATA7			0x138e
			IMX95_PAD_SD1_STROBE__USDHC1_STROBE			0x158e
		>;
	};

	pinctrl_usdhc1_200mhz: usdhc1-200mhzgrp {
		fsl,pins = <
			IMX95_PAD_SD1_CLK__USDHC1_CLK				0x15fe
			IMX95_PAD_SD1_CMD__USDHC1_CMD				0x13fe
			IMX95_PAD_SD1_DATA0__USDHC1_DATA0			0x13fe
			IMX95_PAD_SD1_DATA1__USDHC1_DATA1			0x13fe
			IMX95_PAD_SD1_DATA2__USDHC1_DATA2			0x13fe
			IMX95_PAD_SD1_DATA3__USDHC1_DATA3			0x13fe
			IMX95_PAD_SD1_DATA4__USDHC1_DATA4			0x13fe
			IMX95_PAD_SD1_DATA5__USDHC1_DATA5			0x13fe
			IMX95_PAD_SD1_DATA6__USDHC1_DATA6			0x13fe
			IMX95_PAD_SD1_DATA7__USDHC1_DATA7			0x13fe
			IMX95_PAD_SD1_STROBE__USDHC1_STROBE			0x15fe
		>;
	};

	pinctrl_reg_usdhc2_vmmc: regusdhc2vmmcgrp {
		fsl,pins = <
			IMX95_PAD_SD2_RESET_B__GPIO3_IO_BIT7			0x31e
		>;
	};

	pinctrl_usdhc2_gpio: usdhc2gpiogrp {
		fsl,pins = <
			IMX95_PAD_SD2_CD_B__GPIO3_IO_BIT0			0x31e
		>;
	};

	pinctrl_usdhc2: usdhc2grp {
		fsl,pins = <
			IMX95_PAD_SD2_CLK__USDHC2_CLK				0x158e
			IMX95_PAD_SD2_CMD__USDHC2_CMD				0x138e
			IMX95_PAD_SD2_DATA0__USDHC2_DATA0			0x138e
			IMX95_PAD_SD2_DATA1__USDHC2_DATA1			0x138e
			IMX95_PAD_SD2_DATA2__USDHC2_DATA2			0x138e
			IMX95_PAD_SD2_DATA3__USDHC2_DATA3			0x138e
			IMX95_PAD_SD2_VSELECT__USDHC2_VSELECT			0x51e
		>;
	};

	pinctrl_usdhc2_100mhz: usdhc2-100mhzgrp {
		fsl,pins = <
			IMX95_PAD_SD2_CLK__USDHC2_CLK				0x158e
			IMX95_PAD_SD2_CMD__USDHC2_CMD				0x138e
			IMX95_PAD_SD2_DATA0__USDHC2_DATA0			0x138e
			IMX95_PAD_SD2_DATA1__USDHC2_DATA1			0x138e
			IMX95_PAD_SD2_DATA2__USDHC2_DATA2			0x138e
			IMX95_PAD_SD2_DATA3__USDHC2_DATA3			0x138e
			IMX95_PAD_SD2_VSELECT__USDHC2_VSELECT			0x51e
		>;
	};

	pinctrl_usdhc2_200mhz: usdhc2-200mhzgrp {
		fsl,pins = <
			IMX95_PAD_SD2_CLK__USDHC2_CLK				0x15fe
			IMX95_PAD_SD2_CMD__USDHC2_CMD				0x13fe
			IMX95_PAD_SD2_DATA0__USDHC2_DATA0			0x13fe
			IMX95_PAD_SD2_DATA1__USDHC2_DATA1			0x13fe
			IMX95_PAD_SD2_DATA2__USDHC2_DATA2			0x13fe
			IMX95_PAD_SD2_DATA3__USDHC2_DATA3			0x13fe
			IMX95_PAD_SD2_VSELECT__USDHC2_VSELECT			0x51e
		>;
	};

	pinctrl_reg_usdhc3_vmmc: regusdhc3vmmcgrp {
		fsl,pins = <
			IMX95_PAD_GPIO_IO36__GPIO5_IO_BIT16                    0x31e
		>;
	};

	pinctrl_usdhc3: usdhc3grp {
		fsl,pins = <
			IMX95_PAD_SD3_CLK__USDHC3_CLK				0x158e
			IMX95_PAD_SD3_CMD__USDHC3_CMD				0x138e
			IMX95_PAD_SD3_DATA0__USDHC3_DATA0			0x138e
			IMX95_PAD_SD3_DATA1__USDHC3_DATA1			0x138e
			IMX95_PAD_SD3_DATA2__USDHC3_DATA2			0x138e
			IMX95_PAD_SD3_DATA3__USDHC3_DATA3			0x138e
		>;
	};

	pinctrl_usdhc3_100mhz: usdhc3-100mhzgrp {
		fsl,pins = <
			IMX95_PAD_SD3_CLK__USDHC3_CLK				0x158e
			IMX95_PAD_SD3_CMD__USDHC3_CMD				0x138e
			IMX95_PAD_SD3_DATA0__USDHC3_DATA0			0x138e
			IMX95_PAD_SD3_DATA1__USDHC3_DATA1			0x138e
			IMX95_PAD_SD3_DATA2__USDHC3_DATA2			0x138e
			IMX95_PAD_SD3_DATA3__USDHC3_DATA3			0x138e
		>;
	};

	pinctrl_usdhc3_200mhz: usdhc3-200mhzgrp {
		fsl,pins = <
			IMX95_PAD_SD3_CLK__USDHC3_CLK				0x15fe
			IMX95_PAD_SD3_CMD__USDHC3_CMD				0x13fe
			IMX95_PAD_SD3_DATA0__USDHC3_DATA0			0x13fe
			IMX95_PAD_SD3_DATA1__USDHC3_DATA1			0x13fe
			IMX95_PAD_SD3_DATA2__USDHC3_DATA2			0x13fe
			IMX95_PAD_SD3_DATA3__USDHC3_DATA3			0x13fe
		>;
	};
};

&vpuctrl {
	boot = <&vpu_boot>;
	sram = <&sram1>;
};

&wdog3 {
	status = "okay";
};

&pcie0 {
	pinctrl-0 = <&pinctrl_pcie0>;
	pinctrl-names = "default";
	fsl,refclk-pad-mode = <IMX8_PCIE_REFCLK_PAD_OUTPUT>;
	reset-gpio = <&gpio5 15 GPIO_ACTIVE_LOW>;
	vpcie-supply = <&reg_pcie0>;
	status = "okay";
};

&pcie1 {
	pinctrl-0 = <&pinctrl_pcie1>;
	pinctrl-names = "default";
	fsl,refclk-pad-mode = <IMX8_PCIE_REFCLK_PAD_OUTPUT>;
	reset-gpio = <&gpio2 18 GPIO_ACTIVE_LOW>;
	vpcie-supply = <&reg_slot_pwr>;
	status = "okay";
};

&pcie1_ep {
	pinctrl-0 = <&pinctrl_pcie1>;
	pinctrl-names = "default";
	fsl,refclk-pad-mode = <IMX8_PCIE_REFCLK_PAD_OUTPUT>;
	vpcie-supply = <&reg_slot_pwr>;
	status = "disabled";
};

&sai1 {
	#sound-dai-cells = <0>;
	pinctrl-names = "default";
	pinctrl-0 = <&pinctrl_sai1>;
	assigned-clocks = <&scmi_clk IMX95_CLK_AUDIOPLL1_VCO>,
			  <&scmi_clk IMX95_CLK_AUDIOPLL2_VCO>,
			  <&scmi_clk IMX95_CLK_AUDIOPLL1>,
			  <&scmi_clk IMX95_CLK_AUDIOPLL2>,
			  <&scmi_clk IMX95_CLK_SAI1>;
	assigned-clock-parents = <0>, <0>, <0>, <0>,
				 <&scmi_clk IMX95_CLK_AUDIOPLL1>;
	assigned-clock-rates = <3932160000>,
			       <3612672000>, <393216000>,
			       <361267200>, <12288000>;
	fsl,sai-mclk-direction-output;
	status = "disabled";
};

&sai3 {
	#sound-dai-cells = <0>;
	pinctrl-names = "default";
	pinctrl-0 = <&pinctrl_sai3>;
	assigned-clocks = <&scmi_clk IMX95_CLK_AUDIOPLL1_VCO>,
			  <&scmi_clk IMX95_CLK_AUDIOPLL2_VCO>,
			  <&scmi_clk IMX95_CLK_AUDIOPLL1>,
			  <&scmi_clk IMX95_CLK_AUDIOPLL2>,
			  <&scmi_clk IMX95_CLK_SAI3>;
	assigned-clock-parents = <0>, <0>, <0>, <0>,
				 <&scmi_clk IMX95_CLK_AUDIOPLL1>;
	assigned-clock-rates = <3932160000>,
			       <3612672000>, <393216000>,
			       <361267200>, <12288000>;
	fsl,sai-mclk-direction-output;
	status = "okay";
};

&micfil {
	#sound-dai-cells = <0>;
	pinctrl-names = "default";
	pinctrl-0 = <&pinctrl_pdm>;
	assigned-clocks = <&scmi_clk IMX95_CLK_AUDIOPLL1_VCO>,
			  <&scmi_clk IMX95_CLK_AUDIOPLL2_VCO>,
			  <&scmi_clk IMX95_CLK_AUDIOPLL1>,
			  <&scmi_clk IMX95_CLK_AUDIOPLL2>,
			  <&scmi_clk IMX95_CLK_PDM>;
	assigned-clock-parents = <0>, <0>, <0>, <0>,
				 <&scmi_clk IMX95_CLK_AUDIOPLL1>;
	assigned-clock-rates = <3932160000>,
			       <3612672000>, <393216000>,
			       <361267200>, <49152000>;
	status = "okay";
};
